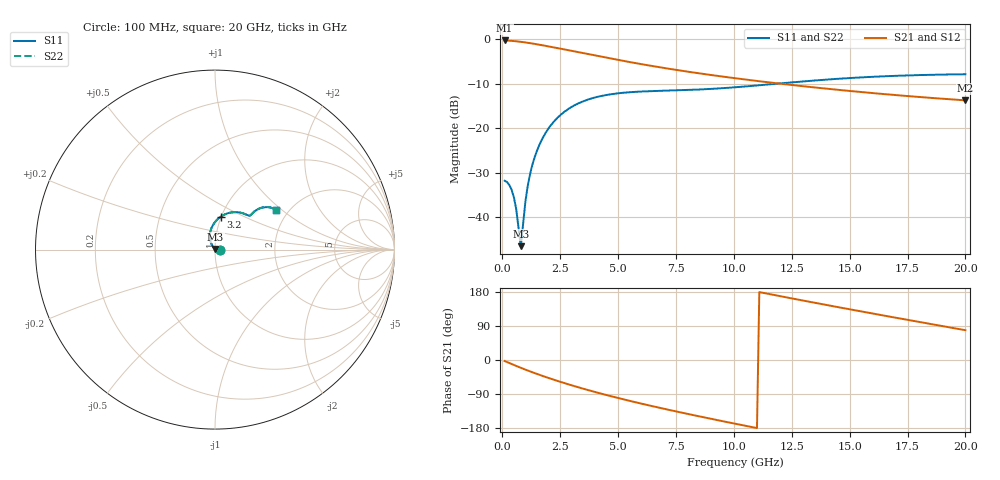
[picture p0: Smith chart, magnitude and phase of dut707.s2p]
! Touchstone file exported from HFSS 2024.1.0
!  File:  C:/UserFiles/LocalFiles/RDL_TSV_Batchsim/temp_RDL_TSV_707_1779886995.aedt
!  Generated:  09:21:27 PM May 27, 2026
!  Design:  RDL_TSV
!  Project:  temp_RDL_TSV_707_1779886995
!  Setup:  Setup1
!  Solution:  Sweep
! Variables:
!  dtsv = 14.21um
!  hbump = 3um
!  htsv = 98.03um
!  ldown = 623.84um
!  lrdl = 461um
!  p = 40
!  p1 = 55.7um
!  rhole = 10um
!  subl = 3715.52um
!  t = 450um
!  tdown = 4.56um
!  trdl = 2.31um
!  viad = 10um
!  wdown = 22.36um
!  wrdl = 14.32um
!  xbump = 18um
# GHz S MA R 50.000000
! Terminal data exported
! Port[1] = TM1_1_T1
! Port[2] = TM1_4_T1
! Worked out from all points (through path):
!   200 points, 100 MHz to 20 GHz, reference 50 ohm
!   highest |S21| = -0.24 dB at 100 MHz (marker M1); lowest = -13.7 dB at 20 GHz (marker M2)
!   group delay of S21, straight-line fit = 36.7 ps
!   lowest |S11| = -46.6 dB at 800 MHz (marker M3), VSWR 1.01, Z = 50.2 + j0.404 ohm
!   |S11| at or under -10 dB: start of sweep to 11.81 GHz
!   |S22| runs from -46.6 to -7.8 dB; largest |S21 - S12| = 5.9e-15
!   S11 on the Smith chart (normalised r, x): 100 MHz: 1.05, -0.00; 3.2 GHz: 0.99, +0.38; 20 GHz: 1.72, +0.91
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0.1  0.02566 -1.2  0.9733 -2.7  0.9733 -2.7  0.02566 -1.2
! Gamma 0 0 0 0
! Port Impedance 50 0 50 0
0.3  0.02307 -4.7  0.9678 -8.0  0.9678 -8.0  0.02308 -4.7
0.5  0.01672 -6.9  0.9588 -13.1  0.9588 -13.1  0.01673 -6.9
0.6  0.01232 -4.4  0.9532 -15.6  0.9532 -15.6  0.01233 -4.4
0.8  0.004697 58.8  0.94 -20.6  0.94 -20.6  0.0047 58.6
1  0.01506 120.9  0.9247 -25.4  0.9247 -25.4  0.01504 120.8
1.1  0.02254 123.6  0.9164 -27.8  0.9164 -27.8  0.02252 123.5
1.3  0.03882 122.0  0.899 -32.4  0.899 -32.4  0.03878 122.0
1.5  0.05604 117.8  0.8809 -36.9  0.8809 -36.9  0.05599 117.8
1.8  0.0824 110.5  0.853 -43.3  0.853 -43.3  0.08233 110.5
2.2  0.1164 100.8  0.8155 -51.6  0.8155 -51.6  0.1163 100.7
2.7  0.1544 89.8  0.7695 -61.3  0.7695 -61.3  0.1542 89.7
3.2  0.1857 80.3  0.7254 -70.5  0.7254 -70.5  0.1855 80.2
3.5  0.2012 75.2  0.7 -75.9  0.7 -75.9  0.2009 75.2
4.3  0.2314 64.2  0.6369 -89.3  0.6369 -89.3  0.231 64.2
5.1  0.2489 56.2  0.5811 -101.8  0.5811 -101.8  0.2484 56.1
6.8  0.2635 46.7  0.4856 -126.2  0.4856 -126.2  0.2628 46.7
8.3  0.2713 44.2  0.4223 -146.1  0.4223 -146.1  0.2706 44.3
10.1  0.2896 44.1  0.3643 -168.7  0.3643 -168.7  0.2891 44.3
13.4  0.3432 42.3  0.2894 152.1  0.2894 152.1  0.343 42.5
16.7  0.3865 37.3  0.2396 114.8  0.2396 114.8  0.3866 37.5
20  0.4054 33.0  0.206 78.6  0.206 78.6  0.4056 33.2
